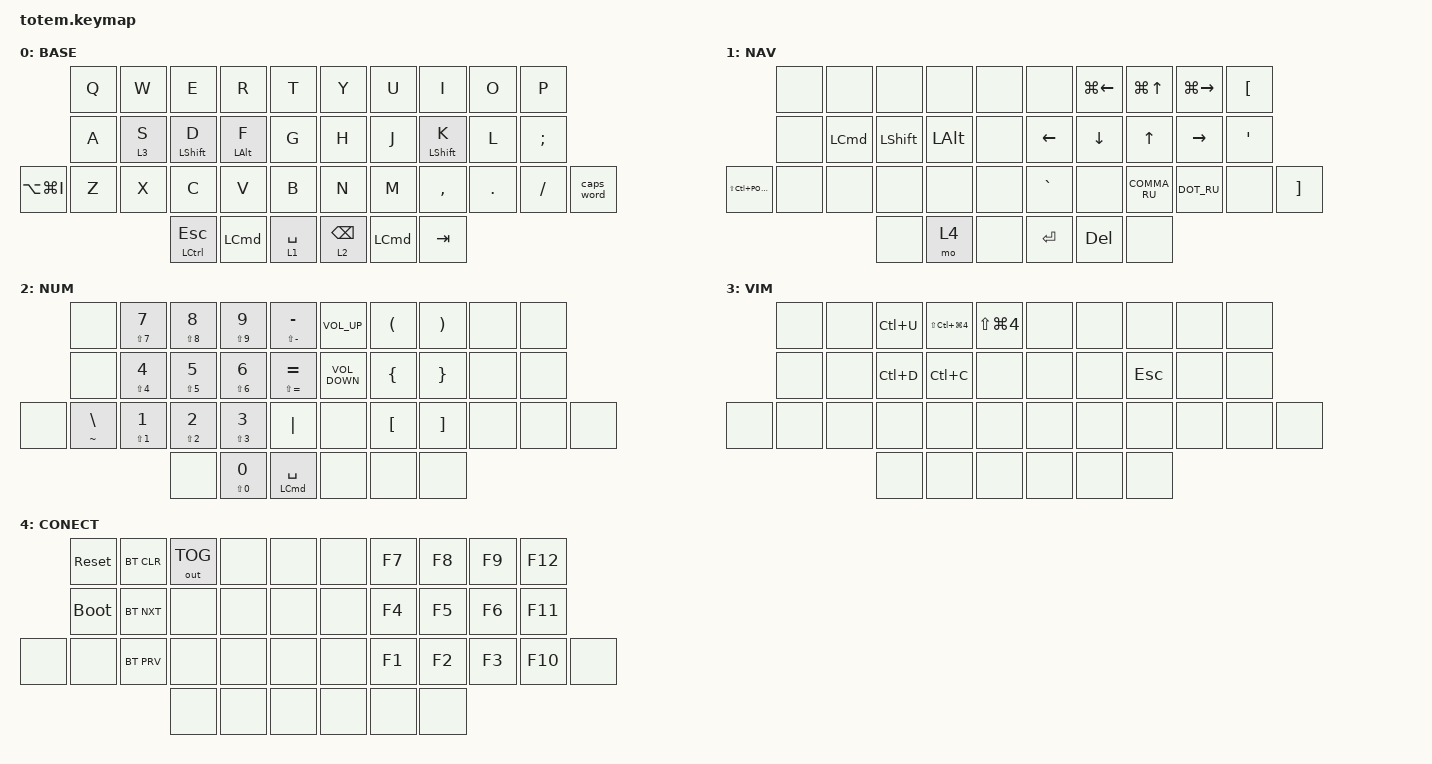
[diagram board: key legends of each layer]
//
//                                                        ▀▀▀▀▀     ▀▀▀▀▀          ▀▀█▀▀
//                                                        ▄▀▀▀▄  ▄  ▄▀▀▀▄  ▄  ▄▀▀▀▄  █  ▄▀▀▀▄
//                                                        █   █  █  █   █  █  █   █  █  █   █
//                                                         ▀▀▀   █   ▀▀▀   █   ▀▀▀   ▀   ▀▀▀
//                                                               █      ▄▄▄█▄▄▄    █   █  
//                                                               ▀      █  █  █     █▄█
//                                                             ▀▀▀▀▀    █  █  █      ▀
//                                                                      ▀  ▀  ▀
//
// ▄▄▄▄▄▄▄▄▄▄▄▄▄▄▄▄▄▄▄▄▄▄▄▄▄▄▄▄▄▄▄▄▄▄▄▄▄▄▄▄▄▄▄▄▄▄▄▄▄▄▄▄▄▄▄▄▄▄▄▄▄▄▄▄▄▄▄▄▄▄▄▄▄▄▄▄▄▄▄▄▄▄▄▄▄▄▄▄▄▄▄▄▄▄▄▄▄▄▄▄▄▄▄▄▄▄▄▄▄▄▄▄▄▄▄▄▄▄▄▄▄▄▄▄▄▄▄▄▄▄▄▄▄▄▄▄▄▄▄▄▄▄▄▄▄▄▄▄▄

#include <behaviors.dtsi>
#include <dt-bindings/zmk/bt.h>
#include <dt-bindings/zmk/keys.h>
#include <dt-bindings/zmk/outputs.h>

#define BASE 0
#define NAV  1
#define SYM  2
#define ADJ  3
#define TVP1 4
#define TVP2 5

&mt {
    quick-tap-ms = <100>;
    global-quick-tap;
    flavor = "tap-preferred";
    tapping-term-ms = <170>;
};

/ {
    combos {
        compatible = "zmk,combos";

        combo_esc {
            timeout-ms = <50>;
            key-positions = <0 1>;
            bindings = <&kp ESC>;
        };

        LANG {
            bindings = <&kp LC(LA(SPACE))>;
            key-positions = <17 18>;
        };
    };

    macros {
        DOT_RU: DOT_RU {
            compatible = "zmk,behavior-macro";
            #binding-cells = <0>;
            bindings = <&kp LS(KP_DOT) &kp SPACE>;
            label = "DOT_RU";
        };

        COMMA_RU: COMMA_RU {
            compatible = "zmk,behavior-macro";
            #binding-cells = <0>;
            bindings = <&kp KP_DOT &kp SPACE>;
            label = "COMMA_RU";
        };
    };

    behaviors {
        home_row: home_row {
            compatible = "zmk,behavior-hold-tap";
            label = "HOME_ROW";
            bindings = <&kp>, <&kp>;

            #binding-cells = <2>;
            tapping-term-ms = <190>;
            flavor = "tap-preferred";
            quick-tap-ms = <190>;
            require-prior-idle-ms = <125>;
        };
    };

    keymap {
        compatible = "zmk,keymap";

        // ▄▄▄▄▄▄▄▄▄▄▄▄▄▄▄▄▄▄▄▄▄▄▄▄▄▄▄▄▄▄▄▄▄▄▄▄▄▄▄▄▄▄▄▄▄▄▄▄▄▄▄▄▄▄▄▄▄▄▄▄▄▄▄▄▄▄▄▄▄▄▄▄▄▄▄▄▄▄▄▄▄▄▄▄▄▄▄▄▄▄▄▄▄▄▄▄▄▄▄▄▄▄▄▄▄▄▄▄▄▄▄▄▄▄▄▄▄▄▄▄▄▄▄▄▄▄▄▄▄▄▄▄▄▄▄▄▄▄▄▄▄▄▄▄▄▄▄▄▄

        BASE {
            // ┏━━━━━━━━━━━━━━━━━━━━━━━━━━━━━━━━━━━━━━━┓
            // ┗━━━━━━━━━━━━━━━━━━━━━━━━━━━━━━━━━━━━━━━┛
            //             ┏━━━━━━━━━━━┳━━━━━━━━━━━┳━━━━━━━━━━━┳━━━━━━━━━━━┳━━━━━━━━━━━┓   ┏━━━━━━━━━━━┳━━━━━━━━━━━┳━━━━━━━━━━━┳━━━━━━━━━━━┳━━━━━━━━━━━┓
            //             ┃     Q     ┃     W     ┃     F     ┃     P     ┃     G     ┃   ┃     J     ┃     L     ┃     U     ┃     Y     ┃     ;     ┃
            //             ┣━━━━━━━━━━━╋━━━━━━━━━━━╋━━━━━━━━━━━╋━━━━━━━━━━━╋━━━━━━━━━━━┫   ┣━━━━━━━━━━━╋━━━━━━━━━━━╋━━━━━━━━━━━╋━━━━━━━━━━━╋━━━━━━━━━━━┫
            //             ┃     A     ┃     R     ┃     S     ┃     T     ┃     D     ┃   ┃     H     ┃     N     ┃     E     ┃     I     ┃     O     ┃
            // ┏━━━━━━━━━━━╋━━━━━━━━━━━╋━━━━━━━━━━━╋━━━━━━━━━━━╋━━━━━━━━━━━╋━━━━━━━━━━━┫   ┣━━━━━━━━━━━╋━━━━━━━━━━━╋━━━━━━━━━━━╋━━━━━━━━━━━╋━━━━━━━━━━━╋━━━━━━━━━━━┓
            // ┃     Q     ┃     Z     ┃     X     ┃     C     ┃     V     ┃     B     ┃   ┃     K     ┃     M     ┃     ,     ┃     .     ┃     /     ┃     \     ┃
            // ┗━━━━━━━━━━━┻━━━━━━━━━━━┻━━━━━━━━━━━╋━━━━━━━━━━━╋━━━━━━━━━━━╋━━━━━━━━━━━┫   ┣━━━━━━━━━━━╋━━━━━━━━━━━╋━━━━━━━━━━━╋━━━━━━━━━━━┻━━━━━━━━━━━┻━━━━━━━━━━━┛
            //                                     ┃    DEL    ┃    TAB    ┃    SPC    ┃   ┃   ENTER   ┃           ┃   BSPC    ┃
            //                                     ┗━━━━━━━━━━━┻━━━━━━━━━━━┻━━━━━━━━━━━┛   ┗━━━━━━━━━━━┻━━━━━━━━━━━┻━━━━━━━━━━━┛

            bindings = <
               &kp Q  &kp W    &kp E                    &kp R                 &kp T          &kp Y            &kp U             &kp I                   &kp O    &kp P
               &kp A  &lt 3 S  &home_row LEFT_SHIFT D   &home_row LEFT_ALT F  &kp G          &kp H            &kp J             &home_row LEFT_SHIFT K  &kp L    &kp SEMI
&kp LA(LG(I))  &kp Z  &kp X    &kp C                    &kp V                 &kp B          &kp N            &kp M             &kp COMMA               &kp DOT  &kp FSLH  &caps_word
                               &mt LEFT_CONTROL ESCAPE  &kp LEFT_COMMAND      &lt 1 SPACE    &lt 2 BACKSPACE  &kp LEFT_COMMAND  &kp TAB
            >;
        };

        NAV {
            bindings = <
                     &none  &none             &none      &none     &none    &none      &kp LG(LEFT)  &kp LG(UP)  &kp LG(RIGHT)  &kp LBKT
                     &none  &kp LEFT_COMMAND  &kp LSHFT  &kp LALT  &none    &kp LEFT   &kp DOWN      &kp UP      &kp RIGHT      &kp APOS
&kp LS(LC(C_POWER))  &none  &none             &none      &none     &none    &kp GRAVE  &none         &COMMA_RU   &DOT_RU        &none     &kp RBKT
                                              &none      &mo 4     &none    &kp ENTER  &kp DELETE    &none
            >;
        };

        NUM {
            bindings = <
       &none                &mt LS(N7) N7  &mt LS(N8) N8  &mt LS(N9) N9  &mt LS(MINUS) MINUS       &kp C_VOLUME_UP    &kp LEFT_PARENTHESIS  &kp RIGHT_PARENTHESIS  &none  &none
       &none                &mt LS(N4) N4  &mt LS(N5) N5  &mt LS(N6) N6  &mt LS(EQUAL) EQUAL       &kp C_VOLUME_DOWN  &kp LEFT_BRACE        &kp RIGHT_BRACE        &none  &none
&none  &mt TILDE BACKSLASH  &mt LS(N1) N1  &mt LS(N2) N2  &mt LS(N3) N3  &kp PIPE                  &none              &kp LEFT_BRACKET      &kp RIGHT_BRACKET      &none  &none  &none
                                           &none          &mt LS(N0) N0  &mt LEFT_COMMAND SPACE    &none              &none                 &none
            >;
        };

        VIM {
            bindings = <
       &none  &none  &kp LC(U)  &kp LS(LC(LG(NUMBER_4)))  &kp LS(LG(NUMBER_4))    &none  &none  &none       &none  &none
       &none  &none  &kp LC(D)  &kp LC(C)                 &none                   &none  &none  &kp ESCAPE  &none  &none
&none  &none  &none  &none      &none                     &none                   &none  &none  &none       &none  &none  &none
                     &none      &none                     &none                   &none  &none  &none
            >;
        };

        CONECT {
            // ┏━━━━━━━━━━━━━━━━━━━━━━━━━━━━━━━━━━━━━━━┓
            // ┗━━━━━━━━━━━━━━━━━━━━━━━━━━━━━━━━━━━━━━━┛
            //             ┏━━━━━━━━━━━┳━━━━━━━━━━━┳━━━━━━━━━━━┳━━━━━━━━━━━┳━━━━━━━━━━━┓   ┏━━━━━━━━━━━┳━━━━━━━━━━━┳━━━━━━━━━━━┳━━━━━━━━━━━┳━━━━━━━━━━━┓
            //             ┃   RESET   ┃ BT CLEAR  ┃  OUT TOG  ┃           ┃           ┃   ┃           ┃    F7     ┃    F8     ┃    F9     ┃    F12    ┃
            //             ┣━━━━━━━━━━━╋━━━━━━━━━━━╋━━━━━━━━━━━╋━━━━━━━━━━━╋━━━━━━━━━━━┫   ┣━━━━━━━━━━━╋━━━━━━━━━━━╋━━━━━━━━━━━╋━━━━━━━━━━━╋━━━━━━━━━━━┫
            //             ┃ BOOTLOAD  ┃ BT NEXT   ┃           ┃           ┃           ┃   ┃           ┃    F4     ┃    F5     ┃    F6     ┃    F11    ┃
            // ┏━━━━━━━━━━━╋━━━━━━━━━━━╋━━━━━━━━━━━╋━━━━━━━━━━━╋━━━━━━━━━━━╋━━━━━━━━━━━┫   ┣━━━━━━━━━━━╋━━━━━━━━━━━╋━━━━━━━━━━━╋━━━━━━━━━━━╋━━━━━━━━━━━╋━━━━━━━━━━━┓
            // ┃           ┃           ┃ BT PREV   ┃           ┃           ┃           ┃   ┃           ┃    F1     ┃    F2     ┃    F3     ┃    F10    ┃           ┃
            // ┗━━━━━━━━━━━┻━━━━━━━━━━━┻━━━━━━━━━━━╋━━━━━━━━━━━╋━━━━━━━━━━━╋━━━━━━━━━━━┫   ┣━━━━━━━━━━━╋━━━━━━━━━━━╋━━━━━━━━━━━╋━━━━━━━━━━━┻━━━━━━━━━━━┻━━━━━━━━━━━┛
            //                                     ┃           ┃           ┃           ┃   ┃           ┃           ┃           ┃
            //                                     ┗━━━━━━━━━━━┻━━━━━━━━━━━┻━━━━━━━━━━━┛   ┗━━━━━━━━━━━┻━━━━━━━━━━━┻━━━━━━━━━━━┛

            bindings = <
       &sys_reset   &bt BT_CLR  &out OUT_TOG  &none  &none    &none  &kp F7  &kp F8  &kp F9  &kp F12
       &bootloader  &bt BT_NXT  &none         &none  &none    &none  &kp F4  &kp F5  &kp F6  &kp F11
&none  &none        &bt BT_PRV  &none         &none  &none    &none  &kp F1  &kp F2  &kp F3  &kp F10  &none
                                &none         &none  &none    &none  &none   &none
            >;
        };
    };
};
